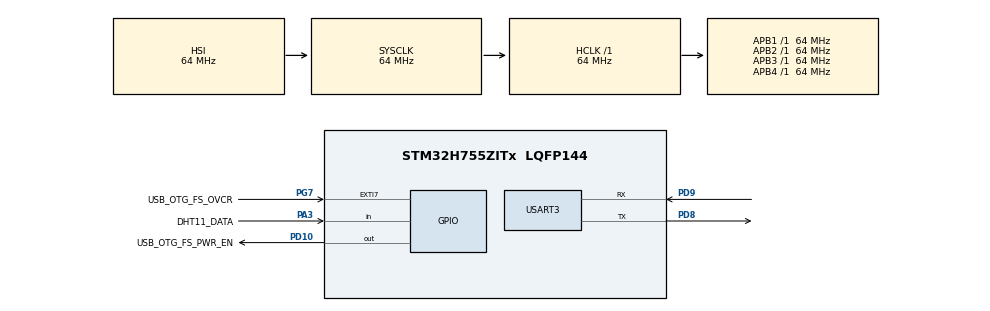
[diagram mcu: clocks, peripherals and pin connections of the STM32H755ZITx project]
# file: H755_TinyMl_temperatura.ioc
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CortexM4.IPs=FATFS_M4\:I,FREERTOS_M4\:I,IWDG2\:I,RCC,WWDG2\:I,DMA,BDMA,MDMA,NVIC2\:I,ETH,DEBUG,PDM2PCM_M4\:I,PWR,RESMGR_UTILITY,SYS_M4\:I,USB_DEVICE_M4\:I,USB_HOST_M4\:I,CORTEX_M4\:I,GPIO,OPENAMP_M4\:I,VREFBUF,NUCLEO-H755ZI-Q
CortexM7.IPs=FATFS_M7\:I,FREERTOS_M7\:I,IWDG1\:I,RCC\:I,WWDG1\:I,DMA\:I,BDMA\:I,MDMA\:I,NVIC1\:I,ETH\:I,USART3\:I,USB_OTG_FS\:I,USB_OTG_FS1\:I,SYS\:I,CORTEX_M7\:I,DEBUG\:I,PDM2PCM_M7\:I,PWR\:I,RESMGR_UTILITY\:I,USB_DEVICE_M7\:I,USB_HOST_M7\:I,GPIO\:I,OPENAMP_M7\:I,VREFBUF\:I,NUCLEO-H755ZI-Q\:I
CortexM7.Pins=PD10,PG7
Mcu.Family=STM32H7
Mcu.Name=STM32H755ZITx
Mcu.Package=LQFP144
NUCLEO-H755ZI-Q.BUTTON=1
NUCLEO-H755ZI-Q.LD1=true
NUCLEO-H755ZI-Q.LD2=true
NUCLEO-H755ZI-Q.LD3=true
NUCLEO-H755ZI-Q.VCP=false
NVIC1.EXTI15_10_IRQn=true\:0\:0\:false\:false\:true\:false\:true\:true
NVIC1.PriorityGroup=NVIC_PRIORITYGROUP_4
NVIC2.PriorityGroup=NVIC_PRIORITYGROUP_4
PA1.PinAttribute=CortexM7
PA1.Signal=ETH_REF_CLK
PA11.PinAttribute=CortexM7
PA11.Signal=USB_OTG_FS_DM
PA12.PinAttribute=CortexM7
PA12.Signal=USB_OTG_FS_DP
PA2.PinAttribute=CortexM7
PA2.Signal=ETH_MDIO
PA3.GPIO_Label=DHT11_DATA
PA3.GPIO_PuPd=GPIO_PULLUP
PA3.PinAttribute=Free
PA3.Signal=GPIO_Input
PA7.PinAttribute=CortexM7
PA7.Signal=ETH_CRS_DV
PA8.PinAttribute=CortexM7
PA8.Signal=USB_OTG_FS_SOF
PA9.PinAttribute=CortexM7
PA9.Signal=USB_OTG_FS_VBUS
PB13.PinAttribute=CortexM7
PB13.Signal=ETH_TXD1
PC1.PinAttribute=CortexM7
PC1.Signal=ETH_MDC
PC14-OSC32_IN\ (OSC32_IN).PinAttribute=Free
PC14-OSC32_IN\ (OSC32_IN).Signal=RCC_OSC32_IN
PC15-OSC32_OUT\ (OSC32_OUT).PinAttribute=Free
PC15-OSC32_OUT\ (OSC32_OUT).Signal=RCC_OSC32_OUT
PC4.PinAttribute=CortexM7
PC4.Signal=ETH_RXD0
PC5.PinAttribute=CortexM7
PC5.Signal=ETH_RXD1
PD10.GPIO_Label=USB_OTG_FS_PWR_EN
PD10.PinAttribute=CortexM7
PD10.Signal=GPIO_Output
PD8.Mode=Asynchronous
PD8.PinAttribute=CortexM7
PD8.Signal=USART3_TX
PD9.Mode=Asynchronous
PD9.PinAttribute=CortexM7
PD9.Signal=USART3_RX
PG11.PinAttribute=CortexM7
PG11.Signal=ETH_TX_EN
PG13.PinAttribute=CortexM7
PG13.Signal=ETH_TXD0
PG7.GPIO_Label=USB_OTG_FS_OVCR
PG7.PinAttribute=CortexM7
PG7.Signal=GPXTI7
PH0-OSC_IN\ (PH0).PinAttribute=Free
PH0-OSC_IN\ (PH0).Signal=RCC_OSC_IN
PH1-OSC_OUT\ (PH1).PinAttribute=Free
PH1-OSC_OUT\ (PH1).Signal=RCC_OSC_OUT
ProjectManager.HeapSize=M4-0x200,M7-0x200
ProjectManager.StackSize=M4-0x400,M7-0x400
ProjectManager.TargetToolchain=STM32CubeIDE
RCC.ADCFreq_Value=129000000
RCC.APB1Freq_Value=64000000
RCC.APB2Freq_Value=64000000
RCC.APB3Freq_Value=64000000
RCC.APB4Freq_Value=64000000
RCC.CortexFreq_Value=64000000
RCC.DIVM1=5
RCC.DIVN1=48
RCC.DIVQ1=5
RCC.HCLKFreq_Value=64000000
RCC.PLL2FRACN=0
RCC.PLL3FRACN=0
RCC.PLLFRACN=0
RCC.SYSCLKFreq_VALUE=64000000
RCC.SupplySource=PWR_DIRECT_SMPS_SUPPLY
RCC.USBFreq_Value=122880000
USART3.VirtualMode-Asynchronous=VM_ASYNC
VP_NUCLEO-H755ZI-Q_VS_BSP_COMMON.Mode=COMMON
VP_SYS_M4_VS_Systick.Mode=SysTick
board=NUCLEO-H755ZI-Q

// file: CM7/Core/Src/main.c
/* USER CODE BEGIN Header */
/**
  ******************************************************************************
  * @file           : main.c
  * @brief          : DHT11 + USART3 + TinyML Features - NUCLEO-H755ZI-Q
  ******************************************************************************
  */
/* USER CODE END Header */

#include "main.h"

/* USER CODE BEGIN Includes */

#include "dht11.h"
#include <stdio.h>
#include <string.h>

/* USER CODE END Includes */

/* USER CODE BEGIN PD */

/*
 * Quantidade de temperaturas armazenadas.
 *
 * Como fazemos uma leitura por segundo:
 *
 * 10 amostras = aproximadamente 10 segundos.
 */
#define WINDOW_SIZE 10U

/*
 * Sincronização entre Cortex-M7 e Cortex-M4.
 */
#define DUAL_CORE_BOOT_SYNC_SEQUENCE

#if defined(DUAL_CORE_BOOT_SYNC_SEQUENCE)

#ifndef HSEM_ID_0
#define HSEM_ID_0 (0U)
#endif

#endif

/* USER CODE END PD */

UART_HandleTypeDef huart3;

/* USER CODE BEGIN PV */

/*
 * Buffer que guarda as últimas 10 temperaturas.
 *
 * Inicialmente:
 *
 * [0, 0, 0, 0, 0, 0, 0, 0, 0, 0]
 */
float temp_buffer[WINDOW_SIZE] = {0};

/*
 * Indica onde a próxima temperatura
 * deverá ser armazenada.
 *
 * Vai de:
 *
 * 0 até 9
 */
uint8_t buffer_index = 0;

/* USER CODE END PV */

void SystemClock_Config(void);

static void MX_GPIO_Init(void);

static void MX_USART3_UART_Init(void);

int main(void)
{

  /* USER CODE BEGIN Boot_Mode_Sequence_0 */

#if defined(DUAL_CORE_BOOT_SYNC_SEQUENCE)

  int32_t timeout;

#endif

  /* USER CODE END Boot_Mode_Sequence_0 */

  /* USER CODE BEGIN Boot_Mode_Sequence_1 */

#if defined(DUAL_CORE_BOOT_SYNC_SEQUENCE)

  /*
   * Espera o Cortex-M4 inicializar
   * e entrar em STOP mode.
   */

  timeout = 0xFFFF;

  while ((__HAL_RCC_GET_FLAG(RCC_FLAG_D2CKRDY) != RESET)
         && (timeout-- > 0))
  {
  }

  if (timeout < 0)
  {
    Error_Handler();
  }

#endif

  /* USER CODE END Boot_Mode_Sequence_1 */

  /*
   * Inicializa a HAL.
   */
  HAL_Init();

  /*
   * Configura o clock do sistema.
   */
  SystemClock_Config();

  /* USER CODE BEGIN Boot_Mode_Sequence_2 */

#if defined(DUAL_CORE_BOOT_SYNC_SEQUENCE)

  /*
   * Habilita o clock do Hardware Semaphore.
   */
  __HAL_RCC_HSEM_CLK_ENABLE();

  /*
   * Libera o Cortex-M4.
   */
  HAL_HSEM_FastTake(HSEM_ID_0);

  HAL_HSEM_Release(
      HSEM_ID_0,
      0
  );

  /*
   * Espera o Cortex-M4 acordar.
   */
  timeout = 0xFFFF;

  while ((__HAL_RCC_GET_FLAG(RCC_FLAG_D2CKRDY) == RESET)
         && (timeout-- > 0))
  {
  }

  if (timeout < 0)
  {
    Error_Handler();
  }

#endif

  /* USER CODE END Boot_Mode_Sequence_2 */

  /*
   * Inicializa os periféricos.
   */
  MX_GPIO_Init();

  MX_USART3_UART_Init();

  /* USER CODE BEGIN 2 */

  /*
   * =====================================================
   * INICIALIZAÇÃO DO DHT11
   * =====================================================
   */

  DHT11_Init();

  /*
   * Temperatura atual.
   */
  uint8_t temperature = 0;

  /*
   * Umidade atual.
   */
  uint8_t humidity = 0;

  /*
   * Usado para montar mensagens que serão
   * enviadas pela USART3.
   */
  char mensagem[160];

  /*
   * Guarda o instante em que fizemos
   * a última leitura do sensor.
   */
  uint32_t last_sample_time = 0;

  /* USER CODE END 2 */

  /*
   * =====================================================
   * LEDs DA NUCLEO
   * =====================================================
   */

  BSP_LED_Init(LED_GREEN);

  BSP_LED_Init(LED_YELLOW);

  BSP_LED_Init(LED_RED);

  /*
   * Botão USER.
   */
  BSP_PB_Init(
      BUTTON_USER,
      BUTTON_MODE_EXTI
  );

  /*
   * Mensagem inicial.
   */
  {
      char inicio[] =
          "\r\n"
          "========================================\r\n"
          " STM32H755 - DHT11 - Fase 2 TinyML\r\n"
          "========================================\r\n"
          "Amostragem: 1 Hz\r\n"
          "Janela: 10 temperaturas\r\n"
          "========================================\r\n\r\n";

      HAL_UART_Transmit(
          &huart3,
          (uint8_t *)inicio,
          sizeof(inicio) - 1,
          HAL_MAX_DELAY
      );
  }

  /* Infinite loop */
  /* USER CODE BEGIN WHILE */

  while (1)
  {

      /*
       * =====================================================
       * UMA LEITURA POR SEGUNDO
       * =====================================================
       */

      if ((HAL_GetTick() - last_sample_time) >= 1000U)
      {

          /*
           * Guarda o horário desta leitura.
           */
          last_sample_time = HAL_GetTick();

          /*
           * =================================================
           * 1. LEITURA DO DHT11
           * =================================================
           */

          if (DHT11_Read(
                  &temperature,
                  &humidity))
          {

              /*
               * =================================================
               * 2. GUARDA A TEMPERATURA NO BUFFER
               * =================================================
               *
               * Exemplo:
               *
               * Amostra 0:
               *
               * [24, 0, 0, 0, 0, 0, 0, 0, 0, 0]
               *
               *
               * Amostra 1:
               *
               * [24, 24, 0, 0, 0, 0, 0, 0, 0, 0]
               *
               *
               * ...
               */

              temp_buffer[buffer_index] =
                  (float)temperature;

              /*
               * Mostra no terminal qual posição
               * estamos preenchendo.
               */

              snprintf(
                  mensagem,
                  sizeof(mensagem),

                  "Amostra[%u]: Temperatura: %u C | Umidade: %u %%\r\n",

                  (unsigned int)buffer_index,

                  (unsigned int)temperature,

                  (unsigned int)humidity
              );

              HAL_UART_Transmit(
                  &huart3,

                  (uint8_t *)mensagem,

                  strlen(mensagem),

                  HAL_MAX_DELAY
              );

              /*
               * Passa para a próxima posição.
               */
              buffer_index++;

              /*
               * =================================================
               * 3. AS 10 TEMPERATURAS FORAM COLETADAS?
               * =================================================
               */

              if (buffer_index >= WINDOW_SIZE)
              {

                  /*
                   * Mostra que a janela está completa.
                   */

                  char texto[] =
                      "\r\nBuffer completo: ";

                  HAL_UART_Transmit(
                      &huart3,

                      (uint8_t *)texto,

                      sizeof(texto) - 1,

                      HAL_MAX_DELAY
                  );

                  /*
                   * =================================================
                   * MOSTRA AS 10 TEMPERATURAS
                   * =================================================
                   */

                  for (uint8_t i = 0;
                       i < WINDOW_SIZE;
                       i++)
                  {

                      snprintf(
                          mensagem,

                          sizeof(mensagem),

                          "%u ",

                          (unsigned int)
                          temp_buffer[i]
                      );

                      HAL_UART_Transmit(
                          &huart3,

                          (uint8_t *)mensagem,

                          strlen(mensagem),

                          HAL_MAX_DELAY
                      );
                  }

                  /*
                   * Nova linha.
                   */
                  char nova_linha[] =
                      "\r\n";

                  HAL_UART_Transmit(
                      &huart3,

                      (uint8_t *)nova_linha,

                      sizeof(nova_linha) - 1,

                      HAL_MAX_DELAY
                  );

                  /*
                   * =================================================
                   * FEATURE 1: MÉDIA
                   * =================================================
                   *
                   * Agora começamos de fato a transformar
                   * os dados brutos em características.
                   *
                   *
                   * Exemplo:
                   *
                   * 24 24 24 25 25 25 25 26 26 27
                   *
                   *                ↓
                   *
                   *              média
                   *
                   */

                  float soma = 0.0f;

                  for (uint8_t i = 0;
                       i < WINDOW_SIZE;
                       i++)
                  {

                      soma += temp_buffer[i];

                  }

                  /*
                   * Calcula a média.
                   */

                  float media =
                      soma / (float)WINDOW_SIZE;

                  /*
                   * Por enquanto não usamos %f no printf.
                   *
                   * Transformamos:
                   *
                   * 24.70
                   *
                   * em:
                   *
                   * parte inteira = 24
                   * centésimos    = 70
                   */

                  uint32_t media_inteira =
                      (uint32_t)media;

                  uint32_t media_centesimos =
                      (uint32_t)(
                          (
                              media -
                              (float)media_inteira
                          )
                          * 100.0f
                          + 0.5f
                      );

                  /*
                   * Corrige um possível arredondamento:
                   *
                   * por exemplo:
                   *
                   * 24.999...
                   */

                  if (media_centesimos >= 100U)
                  {

                      media_inteira++;

                      media_centesimos = 0U;

                  }

                  snprintf(
                      mensagem,

                      sizeof(mensagem),

                      "Media: %lu.%02lu C\r\n",

                      (unsigned long)
                      media_inteira,

                      (unsigned long)
                      media_centesimos
                  );

                  HAL_UART_Transmit(
                      &huart3,

                      (uint8_t *)mensagem,

                      strlen(mensagem),

                      HAL_MAX_DELAY
                  );

                  /*
                   * Separador.
                   */

                  char separador[] =
                      "----------------------------------------\r\n\r\n";

                  HAL_UART_Transmit(
                      &huart3,

                      (uint8_t *)separador,

                      sizeof(separador) - 1,

                      HAL_MAX_DELAY
                  );

                  /*
                   * =================================================
                   * REINICIA A JANELA
                   * =================================================
                   *
                   * Agora as próximas 10 temperaturas
                   * substituirão as anteriores.
                   */

                  buffer_index = 0;

              }

              /*
               * =================================================
               * 4. REGRA TRADICIONAL DA FASE 1
               * =================================================
               *
               * Ainda mantemos a regra antiga
               * somente para comparação.
               *
               *
               * Temperatura > 25 °C
               *
               *       ↓
               *
               * LED verde ligado
               *
               */

              if (temperature > 25U)
              {

                  BSP_LED_On(LED_GREEN);

              }

              else
              {

                  BSP_LED_Off(LED_GREEN);

              }

          }

          else
          {

              /*
               * =================================================
               * ERRO NA LEITURA DO DHT11
               * =================================================
               */

              char erro[] =
                  "Erro ao ler DHT11\r\n";

              HAL_UART_Transmit(
                  &huart3,

                  (uint8_t *)erro,

                  sizeof(erro) - 1,

                  HAL_MAX_DELAY
              );

              BSP_LED_Off(LED_GREEN);

          }

      }

      /*
       * Pequena espera para evitar que o processador
       * execute este while milhões de vezes sem necessidade.
       *
       * IMPORTANTE:
       *
       * Isso NÃO significa que estamos lendo
       * o DHT11 a cada 10 ms.
       *
       * A leitura continua limitada pelo HAL_GetTick()
       * para uma vez por segundo.
       */

      HAL_Delay(10);

      /* USER CODE END WHILE */

  }

}

void SystemClock_Config(void)
{

  RCC_OscInitTypeDef RCC_OscInitStruct = {0};

  RCC_ClkInitTypeDef RCC_ClkInitStruct = {0};

  /*
   * Configuração da alimentação.
   */

  HAL_PWREx_ConfigSupply(
      PWR_DIRECT_SMPS_SUPPLY
  );

  /*
   * Configuração do regulador interno.
   */

  __HAL_PWR_VOLTAGESCALING_CONFIG(
      PWR_REGULATOR_VOLTAGE_SCALE3
  );

  while (!__HAL_PWR_GET_FLAG(
              PWR_FLAG_VOSRDY))
  {
  }

  /*
   * Oscilador interno HSI.
   */

  RCC_OscInitStruct.OscillatorType =
      RCC_OSCILLATORTYPE_HSI;

  RCC_OscInitStruct.HSIState =
      RCC_HSI_DIV1;

  RCC_OscInitStruct.HSICalibrationValue =
      RCC_HSICALIBRATION_DEFAULT;

  RCC_OscInitStruct.PLL.PLLState =
      RCC_PLL_NONE;

  if (HAL_RCC_OscConfig(
          &RCC_OscInitStruct)
      != HAL_OK)
  {

    Error_Handler();

  }

  /*
   * Clocks dos barramentos.
   */

  RCC_ClkInitStruct.ClockType =
      RCC_CLOCKTYPE_HCLK |
      RCC_CLOCKTYPE_SYSCLK |
      RCC_CLOCKTYPE_PCLK1 |
      RCC_CLOCKTYPE_PCLK2 |
      RCC_CLOCKTYPE_D3PCLK1 |
      RCC_CLOCKTYPE_D1PCLK1;

  RCC_ClkInitStruct.SYSCLKSource =
      RCC_SYSCLKSOURCE_HSI;

  RCC_ClkInitStruct.SYSCLKDivider =
      RCC_SYSCLK_DIV1;

  RCC_ClkInitStruct.AHBCLKDivider =
      RCC_HCLK_DIV1;

  RCC_ClkInitStruct.APB3CLKDivider =
      RCC_APB3_DIV1;

  RCC_ClkInitStruct.APB1CLKDivider =
      RCC_APB1_DIV1;

  RCC_ClkInitStruct.APB2CLKDivider =
      RCC_APB2_DIV1;

  RCC_ClkInitStruct.APB4CLKDivider =
      RCC_APB4_DIV1;

  if (HAL_RCC_ClockConfig(
          &RCC_ClkInitStruct,
          FLASH_LATENCY_1)
      != HAL_OK)
  {

    Error_Handler();

  }

}

static void MX_USART3_UART_Init(void)
{

  /*
   * USART3 conectada ao
   * Virtual COM Port do ST-LINK.
   *
   * PD8 = TX
   * PD9 = RX
   */

  huart3.Instance =
      USART3;

  huart3.Init.BaudRate =
      115200;

  huart3.Init.WordLength =
      UART_WORDLENGTH_8B;

  huart3.Init.StopBits =
      UART_STOPBITS_1;

  huart3.Init.Parity =
      UART_PARITY_NONE;

  huart3.Init.Mode =
      UART_MODE_TX_RX;

  huart3.Init.HwFlowCtl =
      UART_HWCONTROL_NONE;

  huart3.Init.OverSampling =
      UART_OVERSAMPLING_16;

  huart3.Init.OneBitSampling =
      UART_ONE_BIT_SAMPLE_DISABLE;

  huart3.Init.ClockPrescaler =
      UART_PRESCALER_DIV1;

  huart3.AdvancedInit.AdvFeatureInit =
      UART_ADVFEATURE_NO_INIT;

  if (HAL_UART_Init(
          &huart3)
      != HAL_OK)
  {

    Error_Handler();

  }

  if (HAL_UARTEx_SetTxFifoThreshold(
          &huart3,
          UART_TXFIFO_THRESHOLD_1_8)
      != HAL_OK)
  {

    Error_Handler();

  }

  if (HAL_UARTEx_SetRxFifoThreshold(
          &huart3,
          UART_RXFIFO_THRESHOLD_1_8)
      != HAL_OK)
  {

    Error_Handler();

  }

  if (HAL_UARTEx_DisableFifoMode(
          &huart3)
      != HAL_OK)
  {

    Error_Handler();

  }

}

static void MX_GPIO_Init(void)
{

  GPIO_InitTypeDef GPIO_InitStruct = {0};

  /*
   * Habilita clocks dos GPIOs.
   */

  __HAL_RCC_GPIOC_CLK_ENABLE();

  __HAL_RCC_GPIOA_CLK_ENABLE();

  __HAL_RCC_GPIOB_CLK_ENABLE();

  __HAL_RCC_GPIOD_CLK_ENABLE();

  __HAL_RCC_GPIOG_CLK_ENABLE();

  /*
   * USB Power Enable inicialmente LOW.
   */

  HAL_GPIO_WritePin(
      USB_OTG_FS_PWR_EN_GPIO_Port,

      USB_OTG_FS_PWR_EN_Pin,

      GPIO_PIN_RESET
  );

  /*
   * Ethernet:
   *
   * PC1
   * PC4
   * PC5
   */

  GPIO_InitStruct.Pin =
      GPIO_PIN_1 |
      GPIO_PIN_4 |
      GPIO_PIN_5;

  GPIO_InitStruct.Mode =
      GPIO_MODE_AF_PP;

  GPIO_InitStruct.Pull =
      GPIO_NOPULL;

  GPIO_InitStruct.Speed =
      GPIO_SPEED_FREQ_HIGH;

  GPIO_InitStruct.Alternate =
      GPIO_AF11_ETH;

  HAL_GPIO_Init(
      GPIOC,
      &GPIO_InitStruct
  );

  /*
   * Ethernet:
   *
   * PA1
   * PA2
   * PA7
   */

  GPIO_InitStruct.Pin =
      GPIO_PIN_1 |
      GPIO_PIN_2 |
      GPIO_PIN_7;

  GPIO_InitStruct.Mode =
      GPIO_MODE_AF_PP;

  GPIO_InitStruct.Pull =
      GPIO_NOPULL;

  GPIO_InitStruct.Speed =
      GPIO_SPEED_FREQ_HIGH;

  GPIO_InitStruct.Alternate =
      GPIO_AF11_ETH;

  HAL_GPIO_Init(
      GPIOA,
      &GPIO_InitStruct
  );

  /*
   * Ethernet:
   *
   * PB13
   */

  GPIO_InitStruct.Pin =
      GPIO_PIN_13;

  GPIO_InitStruct.Mode =
      GPIO_MODE_AF_PP;

  GPIO_InitStruct.Pull =
      GPIO_NOPULL;

  GPIO_InitStruct.Speed =
      GPIO_SPEED_FREQ_HIGH;

  GPIO_InitStruct.Alternate =
      GPIO_AF11_ETH;

  HAL_GPIO_Init(
      GPIOB,
      &GPIO_InitStruct
  );

  /*
   * USB Power Enable.
   */

  GPIO_InitStruct.Pin =
      USB_OTG_FS_PWR_EN_Pin;

  GPIO_InitStruct.Mode =
      GPIO_MODE_OUTPUT_PP;

  GPIO_InitStruct.Pull =
      GPIO_NOPULL;

  GPIO_InitStruct.Speed =
      GPIO_SPEED_FREQ_LOW;

  HAL_GPIO_Init(
      USB_OTG_FS_PWR_EN_GPIO_Port,
      &GPIO_InitStruct
  );

  /*
   * USB Overcurrent.
   */

  GPIO_InitStruct.Pin =
      USB_OTG_FS_OVCR_Pin;

  GPIO_InitStruct.Mode =
      GPIO_MODE_IT_RISING;

  GPIO_InitStruct.Pull =
      GPIO_NOPULL;

  HAL_GPIO_Init(
      USB_OTG_FS_OVCR_GPIO_Port,
      &GPIO_InitStruct
  );

  /*
   * USB:
   *
   * PA8
   * PA11
   * PA12
   */

  GPIO_InitStruct.Pin =
      GPIO_PIN_8 |
      GPIO_PIN_11 |
      GPIO_PIN_12;

  GPIO_InitStruct.Mode =
      GPIO_MODE_AF_PP;

  GPIO_InitStruct.Pull =
      GPIO_NOPULL;

  GPIO_InitStruct.Speed =
      GPIO_SPEED_FREQ_LOW;

  GPIO_InitStruct.Alternate =
      GPIO_AF10_OTG1_FS;

  HAL_GPIO_Init(
      GPIOA,
      &GPIO_InitStruct
  );

  /*
   * Ethernet:
   *
   * PG11
   * PG13
   */

  GPIO_InitStruct.Pin =
      GPIO_PIN_11 |
      GPIO_PIN_13;

  GPIO_InitStruct.Mode =
      GPIO_MODE_AF_PP;

  GPIO_InitStruct.Pull =
      GPIO_NOPULL;

  GPIO_InitStruct.Speed =
      GPIO_SPEED_FREQ_HIGH;

  GPIO_InitStruct.Alternate =
      GPIO_AF11_ETH;

  HAL_GPIO_Init(
      GPIOG,
      &GPIO_InitStruct
  );

}

/**
  * @brief Error Handler
  * @retval None
  */
void Error_Handler(void)
{

  __disable_irq();

  while (1)
  {
  }

}
